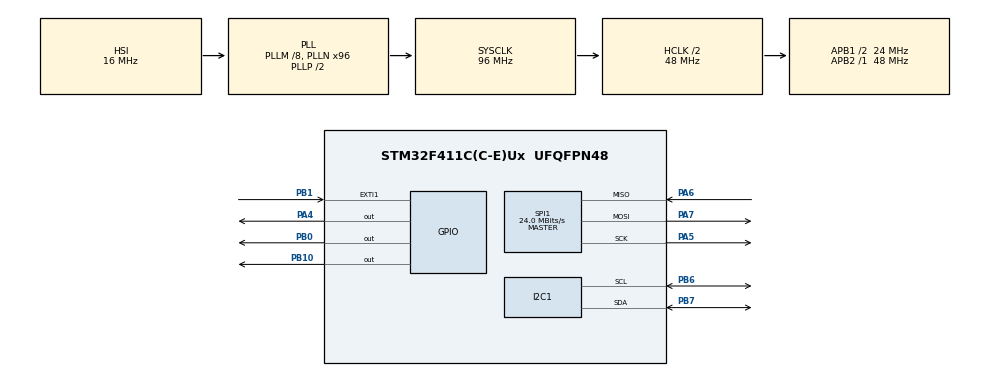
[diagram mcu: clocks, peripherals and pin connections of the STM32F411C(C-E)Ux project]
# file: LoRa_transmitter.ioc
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Mcu.Family=STM32F4
Mcu.Name=STM32F411C(C-E)Ux
Mcu.Package=UFQFPN48
NVIC.EXTI1_IRQn=true\:0\:0\:false\:false\:true\:true\:true\:true
NVIC.PriorityGroup=NVIC_PRIORITYGROUP_4
NVIC.RTC_WKUP_IRQn=true\:0\:0\:false\:false\:true\:true\:true\:true
PA13.Mode=Serial_Wire
PA13.Signal=SYS_JTMS-SWDIO
PA14.Mode=Serial_Wire
PA14.Signal=SYS_JTCK-SWCLK
PA4.Signal=GPIO_Output
PA5.Mode=Full_Duplex_Master
PA5.Signal=SPI1_SCK
PA6.Mode=Full_Duplex_Master
PA6.Signal=SPI1_MISO
PA7.Mode=Full_Duplex_Master
PA7.Signal=SPI1_MOSI
PB0.Signal=GPIO_Output
PB1.GPIO_ModeDefaultEXTI=GPIO_MODE_IT_RISING
PB1.GPIO_PuPd=GPIO_NOPULL
PB1.Signal=GPXTI1
PB10.Signal=GPIO_Output
PB6.GPIO_Pu=GPIO_PULLUP
PB6.Mode=I2C
PB6.Signal=I2C1_SCL
PB7.GPIO_Pu=GPIO_PULLUP
PB7.Mode=I2C
PB7.Signal=I2C1_SDA
PC14-OSC32_IN.Mode=LSE-External-Oscillator
PC14-OSC32_IN.Signal=RCC_OSC32_IN
PC15-OSC32_OUT.Mode=LSE-External-Oscillator
PC15-OSC32_OUT.Signal=RCC_OSC32_OUT
ProjectManager.HeapSize=0x200
ProjectManager.StackSize=0x400
ProjectManager.TargetToolchain=STM32CubeIDE
RCC.48MHZClocksFreq_Value=48000000
RCC.AHBCLKDivider=RCC_SYSCLK_DIV2
RCC.AHBFreq_Value=48000000
RCC.APB1CLKDivider=RCC_HCLK_DIV2
RCC.APB1Freq_Value=24000000
RCC.APB1TimFreq_Value=48000000
RCC.APB2Freq_Value=48000000
RCC.APB2TimFreq_Value=48000000
RCC.CortexFreq_Value=48000000
RCC.HCLKFreq_Value=48000000
RCC.HSE_VALUE=25000000
RCC.HSI_VALUE=16000000
RCC.PLLM=8
RCC.PLLN=96
RCC.SYSCLKFreq_VALUE=96000000
RCC.SYSCLKSource=RCC_SYSCLKSOURCE_PLLCLK
RCC.VCOOutputFreq_Value=192000000
SPI1.CalculateBaudRate=24.0 MBits/s
SPI1.Direction=SPI_DIRECTION_2LINES
SPI1.Mode=SPI_MODE_MASTER
SPI1.VirtualType=VM_MASTER
VP_RTC_VS_RTC_Activate.Mode=RTC_Enabled
VP_RTC_VS_RTC_WakeUp_intern.Mode=WakeUp
board=custom

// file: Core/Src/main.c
/* USER CODE BEGIN Header */
/**
  ******************************************************************************
  * @file           : main.c
  * @brief          : Main program body
  ******************************************************************************
  * @attention
  *
  * Copyright (c) 2026 STMicroelectronics.
  * All rights reserved.
  *
  * This software is licensed under terms that can be found in the LICENSE file
  * in the root directory of this software component.
  * If no LICENSE file comes with this software, it is provided AS-IS.
  *
  ******************************************************************************
  */
/* USER CODE END Header */
#include "main.h"

/* USER CODE BEGIN Includes */
#include <stdio.h>
#include "SX1278.h"
#include "SHT20_driver.h"
/* USER CODE END Includes */

/* USER CODE BEGIN PD */
#define MC_ID 1
#define SLEEP_TIME_SECONDS 60

#define DIO0_GPIO_Port GPIOB
#define DIO0_Pin GPIO_PIN_1

#define NSS_GPIO_Port GPIOA
#define NSS_Pin GPIO_PIN_4

#define RESET_GPIO_Port GPIOB
#define RESET_Pin GPIO_PIN_0
/* USER CODE END PD */

I2C_HandleTypeDef hi2c1;

RTC_HandleTypeDef hrtc;

SPI_HandleTypeDef hspi1;

void SystemClock_Config(void);
static void MX_GPIO_Init(void);
static void MX_SPI1_Init(void);
static void MX_I2C1_Init(void);
static void MX_RTC_Init(void);
/* USER CODE BEGIN PFP */

void Led_Blink_Count(uint8_t n, uint8_t delay);
uint8_t crc8(uint8_t *data, uint8_t len);
void make_lora_packet(uint8_t *buf, float temp_f, float hum_f);
void Enter_Stop_With_RTC();

/* USER CODE END PFP */

/* USER CODE BEGIN 0 */
SX1278_hw_t SX1278_hw;
SX1278_t SX1278;

volatile uint8_t lora_rx_flag = 0;
char buffer[64];

/* USER CODE END 0 */

int main(void)
{

  /* MCU Configuration--------------------------------------------------------*/

  /* Reset of all peripherals, Initializes the Flash interface and the Systick. */
  HAL_Init();

  /* Configure the system clock */
  SystemClock_Config();

  /* Initialize all configured peripherals */
  MX_GPIO_Init();
  MX_SPI1_Init();
  MX_I2C1_Init();
  MX_RTC_Init();

  HAL_Delay(4000);
  Led_Blink_Count(1, 100);
  /* USER CODE BEGIN 2 */
  float temp;
  float hum;

  HAL_RTCEx_SetWakeUpTimer_IT(
        &hrtc,
		SLEEP_TIME_SECONDS,
        RTC_WAKEUPCLOCK_CK_SPRE_16BITS
    );

  SX1278_hw.dio0.port  = DIO0_GPIO_Port;
  SX1278_hw.dio0.pin   = DIO0_Pin;

  SX1278_hw.nss.port   = NSS_GPIO_Port;
  SX1278_hw.nss.pin    = NSS_Pin;

  SX1278_hw.reset.port = RESET_GPIO_Port;
  SX1278_hw.reset.pin  = RESET_Pin;

  SX1278_hw.spi        = &hspi1;

  SX1278.hw = &SX1278_hw;

  SX1278_init(&SX1278, 434000000, SX1278_POWER_17DBM, SX1278_LORA_SF_7, SX1278_LORA_BW_125KHZ, SX1278_LORA_CR_4_5, SX1278_LORA_CRC_EN, 10);
  SX1278_LoRaEntryTx(&SX1278, 16, 3000);

  /* USER CODE END 2 */

  /* Infinite loop */
  /* USER CODE BEGIN WHILE */
  while (1)
  {
	  SX1278_standby(&SX1278);
	  HAL_Delay(10);

	  temp = sht20_Temp_Mess();
	  hum = sht20_Hum_Mess();
	  uint8_t lora_packet[7];
	  make_lora_packet(lora_packet, temp, hum);

	  SX1278_LoRaEntryTx(&SX1278, 16, 3000);

	  //master

	  if (SX1278_transmit(&SX1278, lora_packet, sizeof(lora_packet), 3000)) {
	      Led_Blink_Count(1, 100);
	      HAL_Delay(1000);
	  }

	  HAL_Delay(100);

	  SX1278_sleep(&SX1278);

	  Enter_Stop_With_RTC();

    /* USER CODE END WHILE */

  }
}

void SystemClock_Config(void)
{
  RCC_OscInitTypeDef RCC_OscInitStruct = {0};
  RCC_ClkInitTypeDef RCC_ClkInitStruct = {0};

  /** Configure the main internal regulator output voltage
  */
  __HAL_RCC_PWR_CLK_ENABLE();
  __HAL_PWR_VOLTAGESCALING_CONFIG(PWR_REGULATOR_VOLTAGE_SCALE1);

  /** Initializes the RCC Oscillators according to the specified parameters
  * in the RCC_OscInitTypeDef structure.
  */
  RCC_OscInitStruct.OscillatorType = RCC_OSCILLATORTYPE_HSI|RCC_OSCILLATORTYPE_LSI;
  RCC_OscInitStruct.HSIState = RCC_HSI_ON;
  RCC_OscInitStruct.HSICalibrationValue = RCC_HSICALIBRATION_DEFAULT;
  RCC_OscInitStruct.LSIState = RCC_LSI_ON;
  RCC_OscInitStruct.PLL.PLLState = RCC_PLL_ON;
  RCC_OscInitStruct.PLL.PLLSource = RCC_PLLSOURCE_HSI;
  RCC_OscInitStruct.PLL.PLLM = 8;
  RCC_OscInitStruct.PLL.PLLN = 96;
  RCC_OscInitStruct.PLL.PLLP = RCC_PLLP_DIV2;
  RCC_OscInitStruct.PLL.PLLQ = 4;
  if (HAL_RCC_OscConfig(&RCC_OscInitStruct) != HAL_OK)
  {
    Error_Handler();
  }

  /** Initializes the CPU, AHB and APB buses clocks
  */
  RCC_ClkInitStruct.ClockType = RCC_CLOCKTYPE_HCLK|RCC_CLOCKTYPE_SYSCLK
                              |RCC_CLOCKTYPE_PCLK1|RCC_CLOCKTYPE_PCLK2;
  RCC_ClkInitStruct.SYSCLKSource = RCC_SYSCLKSOURCE_PLLCLK;
  RCC_ClkInitStruct.AHBCLKDivider = RCC_SYSCLK_DIV2;
  RCC_ClkInitStruct.APB1CLKDivider = RCC_HCLK_DIV2;
  RCC_ClkInitStruct.APB2CLKDivider = RCC_HCLK_DIV1;

  if (HAL_RCC_ClockConfig(&RCC_ClkInitStruct, FLASH_LATENCY_1) != HAL_OK)
  {
    Error_Handler();
  }
}

static void MX_I2C1_Init(void)
{

  hi2c1.Instance = I2C1;
  hi2c1.Init.ClockSpeed = 100000;
  hi2c1.Init.DutyCycle = I2C_DUTYCYCLE_2;
  hi2c1.Init.OwnAddress1 = 0;
  hi2c1.Init.AddressingMode = I2C_ADDRESSINGMODE_7BIT;
  hi2c1.Init.DualAddressMode = I2C_DUALADDRESS_DISABLE;
  hi2c1.Init.OwnAddress2 = 0;
  hi2c1.Init.GeneralCallMode = I2C_GENERALCALL_DISABLE;
  hi2c1.Init.NoStretchMode = I2C_NOSTRETCH_DISABLE;
  if (HAL_I2C_Init(&hi2c1) != HAL_OK)
  {
    Error_Handler();
  }

}

static void MX_RTC_Init(void)
{

  RTC_TimeTypeDef sTime = {0};
  RTC_DateTypeDef sDate = {0};

  /** Initialize RTC Only
  */
  hrtc.Instance = RTC;
  hrtc.Init.HourFormat = RTC_HOURFORMAT_24;
  hrtc.Init.AsynchPrediv = 127;
  hrtc.Init.SynchPrediv = 255;
  hrtc.Init.OutPut = RTC_OUTPUT_DISABLE;
  hrtc.Init.OutPutPolarity = RTC_OUTPUT_POLARITY_HIGH;
  hrtc.Init.OutPutType = RTC_OUTPUT_TYPE_OPENDRAIN;
  if (HAL_RTC_Init(&hrtc) != HAL_OK)
  {
    Error_Handler();
  }

  /** Initialize RTC and set the Time and Date
  */
  sTime.Hours = 0x0;
  sTime.Minutes = 0x0;
  sTime.Seconds = 0x0;
  sTime.DayLightSaving = RTC_DAYLIGHTSAVING_NONE;
  sTime.StoreOperation = RTC_STOREOPERATION_RESET;
  if (HAL_RTC_SetTime(&hrtc, &sTime, RTC_FORMAT_BCD) != HAL_OK)
  {
    Error_Handler();
  }
  sDate.WeekDay = RTC_WEEKDAY_MONDAY;
  sDate.Month = RTC_MONTH_JANUARY;
  sDate.Date = 0x1;
  sDate.Year = 0x0;

  if (HAL_RTC_SetDate(&hrtc, &sDate, RTC_FORMAT_BCD) != HAL_OK)
  {
    Error_Handler();
  }

  /** Enable the WakeUp
  */
  if (HAL_RTCEx_SetWakeUpTimer_IT(&hrtc, 0, RTC_WAKEUPCLOCK_RTCCLK_DIV16) != HAL_OK)
  {
    Error_Handler();
  }

}

static void MX_SPI1_Init(void)
{

  /* SPI1 parameter configuration*/
  hspi1.Instance = SPI1;
  hspi1.Init.Mode = SPI_MODE_MASTER;
  hspi1.Init.Direction = SPI_DIRECTION_2LINES;
  hspi1.Init.DataSize = SPI_DATASIZE_8BIT;
  hspi1.Init.CLKPolarity = SPI_POLARITY_LOW;
  hspi1.Init.CLKPhase = SPI_PHASE_1EDGE;
  hspi1.Init.NSS = SPI_NSS_SOFT;
  hspi1.Init.BaudRatePrescaler = SPI_BAUDRATEPRESCALER_2;
  hspi1.Init.FirstBit = SPI_FIRSTBIT_MSB;
  hspi1.Init.TIMode = SPI_TIMODE_DISABLE;
  hspi1.Init.CRCCalculation = SPI_CRCCALCULATION_DISABLE;
  hspi1.Init.CRCPolynomial = 10;
  if (HAL_SPI_Init(&hspi1) != HAL_OK)
  {
    Error_Handler();
  }

}

static void MX_GPIO_Init(void)
{
  GPIO_InitTypeDef GPIO_InitStruct = {0};

  /* GPIO Ports Clock Enable */
  __HAL_RCC_GPIOC_CLK_ENABLE();
  __HAL_RCC_GPIOA_CLK_ENABLE();
  __HAL_RCC_GPIOB_CLK_ENABLE();

  /*Configure GPIO pin Output Level */
  HAL_GPIO_WritePin(GPIOA, GPIO_PIN_4, GPIO_PIN_RESET);

  /*Configure GPIO pin Output Level */
  HAL_GPIO_WritePin(GPIOB, GPIO_PIN_0|GPIO_PIN_10, GPIO_PIN_RESET);

  /*Configure GPIO pin : PA4 */
  GPIO_InitStruct.Pin = GPIO_PIN_4;
  GPIO_InitStruct.Mode = GPIO_MODE_OUTPUT_PP;
  GPIO_InitStruct.Pull = GPIO_NOPULL;
  GPIO_InitStruct.Speed = GPIO_SPEED_FREQ_LOW;
  HAL_GPIO_Init(GPIOA, &GPIO_InitStruct);

  /*Configure GPIO pins : PB0 PB10 */
  GPIO_InitStruct.Pin = GPIO_PIN_0|GPIO_PIN_10;
  GPIO_InitStruct.Mode = GPIO_MODE_OUTPUT_PP;
  GPIO_InitStruct.Pull = GPIO_NOPULL;
  GPIO_InitStruct.Speed = GPIO_SPEED_FREQ_LOW;
  HAL_GPIO_Init(GPIOB, &GPIO_InitStruct);

  /*Configure GPIO pin : PB1 */
  GPIO_InitStruct.Pin = GPIO_PIN_1;
  GPIO_InitStruct.Mode = GPIO_MODE_IT_RISING;
  GPIO_InitStruct.Pull = GPIO_NOPULL;
  HAL_GPIO_Init(GPIOB, &GPIO_InitStruct);

  /* EXTI interrupt init*/
  HAL_NVIC_SetPriority(EXTI1_IRQn, 0, 0);
  HAL_NVIC_EnableIRQ(EXTI1_IRQn);

}

/* USER CODE BEGIN 4 */

void HAL_GPIO_EXTI_Callback(uint16_t GPIO_Pin)
{
    if (GPIO_Pin == DIO0_Pin) {
        lora_rx_flag = 1;
    }
}

void HAL_RTCEx_WakeUpTimerEventCallback(RTC_HandleTypeDef *hrtc)
{
    //...
}

void Led_Blink_Count(uint8_t n, uint8_t delay){
	for(uint8_t i =0;i<n;i++){

		HAL_GPIO_WritePin(GPIOB, GPIO_PIN_10, GPIO_PIN_SET);
		HAL_Delay(delay);
		HAL_GPIO_WritePin(GPIOB, GPIO_PIN_10, GPIO_PIN_RESET);
				HAL_Delay(delay);

	}
}

uint8_t crc8(uint8_t *data, uint8_t len) {
    uint8_t crc = 0x00;
    for (uint8_t i = 0; i < len; i++) {
        crc ^= data[i];
        for (uint8_t j = 0; j < 8; j++) {
            if (crc & 0x80)
                crc = (crc << 1) ^ 0x31;
            else
                crc <<= 1;
        }
    }
    return crc;
}

void make_lora_packet(uint8_t *buf, float temp_f, float hum_f){
	int16_t temp = temp_f*100;
	uint16_t hum = hum_f*100;

	//0-1 byte temperature
	buf[0] = (temp >> 8) & 0xFF;
	buf[1] = temp & 0xFF;

	//2-3 byte humidity
	buf[2] = (hum >> 8) & 0xFF;
	buf[3] = hum & 0xFF;

	//4 byte MC ID
	buf[4] = MC_ID;

	//5 byte flags
	buf[5] = 0;
	//...

	//6 byte CRC
	buf[6] = crc8(buf,6);

}

void Enter_Stop_With_RTC()
{
    HAL_SuspendTick();

    __HAL_PWR_CLEAR_FLAG(PWR_FLAG_WU);

    HAL_PWR_EnterSTOPMode(
        PWR_LOWPOWERREGULATOR_ON,
        PWR_STOPENTRY_WFI
    );

    SystemClock_Config();

    MX_SPI1_Init();
    MX_I2C1_Init();

    HAL_ResumeTick();
}
/* USER CODE END 4 */

void Error_Handler(void)
{
  __disable_irq();
  while (1)
  {
  }
}
